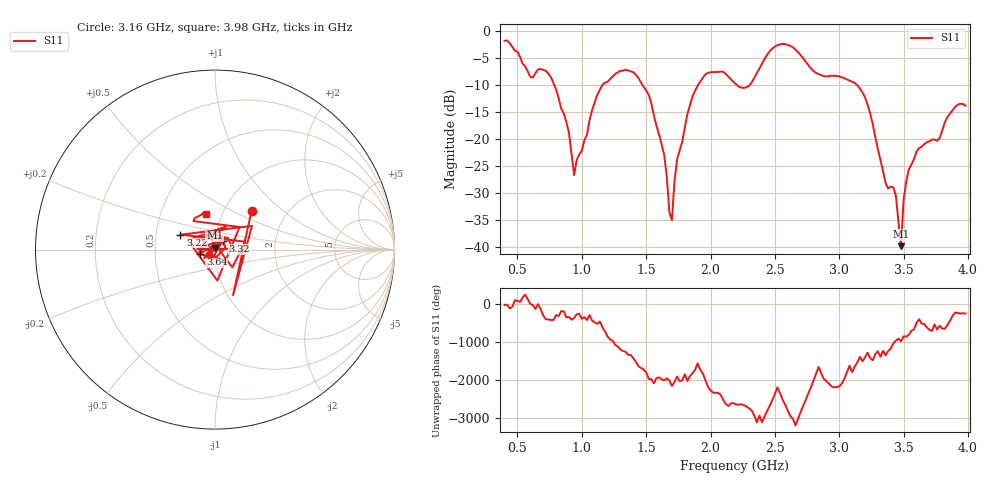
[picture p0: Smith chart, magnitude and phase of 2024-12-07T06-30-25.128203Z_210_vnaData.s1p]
!Created with skrf (http://scikit-rf.org).
# Hz S RI R 50.0
!freq ReS11 ImS11
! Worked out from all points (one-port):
!   180 points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, 400 MHz to 3.98 GHz, reference 50 ohm
!   lowest |S11| = -39.8 dB at 3.48 GHz (marker M1), VSWR 1.02, Z = 49.9 + j1.02 ohm
!   |S11| at or under -10 dB: 786.8 MHz to 1.158 GHz (371.3 MHz wide, 38.2 % of centre); 1.473 GHz to 1.902 GHz (429 MHz wide, 25.4 % of centre); 3.141 GHz to end of sweep (the widest 3 of 4)
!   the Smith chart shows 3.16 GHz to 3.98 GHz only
!   S11 on the Smith chart (normalised r, x): 3.16 GHz: 1.34, +0.63; 3.22 GHz: 0.67, +0.12; 3.32 GHz: 1.08, +0.11; 3.64 GHz: 0.85, -0.04; 3.98 GHz: 0.84, +0.35
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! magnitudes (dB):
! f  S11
! 400 MHz  -1.8
! 600 MHz  -8.5
! 740 MHz  -7.8
! 860 MHz  -15.2
! 940 MHz  -26.6
! 1.12 GHz  -11.7
! 1.3 GHz  -7.3
! 1.52 GHz  -11.8
! 1.64 GHz  -22.9
! 1.68 GHz  -33.5
! 1.7 GHz  -34.9
! 1.72 GHz  -27.7
! 1.76 GHz  -22.0
! 1.86 GHz  -12.1
! 1.96 GHz  -8.0
! 2.2 GHz  -9.8
! 2.5 GHz  -2.8
! 2.64 GHz  -3.0
! 3.1 GHz  -9.3
! 3.16 GHz  -10.6
! 3.22 GHz  -13.6
! 3.32 GHz  -23.8
! 3.44 GHz  -30.4
! 3.48 GHz  -39.8
! 3.5 GHz  -31.2
! 3.54 GHz  -25.6
! 3.64 GHz  -21.4
! 3.98 GHz  -13.8
